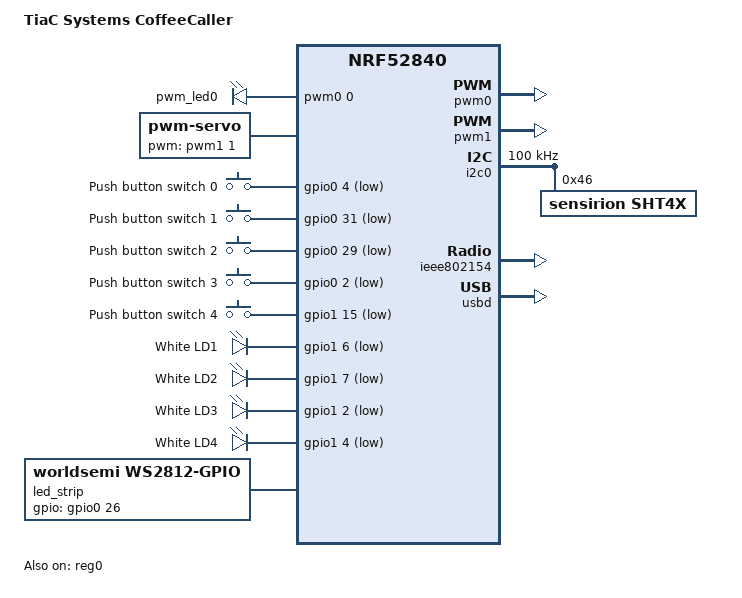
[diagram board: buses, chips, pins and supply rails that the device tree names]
/*
 * Copyright (c) 2025 TiaC Systems
 *
 * SPDX-License-Identifier: Apache-2.0
 */

/dts-v1/;
#include <nordic/nrf52840_qiaa.dtsi>
#include <nordic/nrf52840_partition_uf2_sdv7.dtsi>
#include "nrf52840-pinctrl.dtsi"
#include <zephyr/dt-bindings/input/input-event-codes.h>
#include <zephyr/dt-bindings/led/led.h>

/ {
	model = "TiaC Systems CoffeeCaller";
	compatible = "nordic,nrf52840";

	chosen {
		zephyr,console = &cdc_acm_uart0;
		zephyr,shell-uart = &cdc_acm_uart0;
		zephyr,uart-mcumgr = &cdc_acm_uart0;
		zephyr,bt-mon-uart = &cdc_acm_uart0;
		zephyr,bt-c2h-uart = &cdc_acm_uart0;
		zephyr,ieee802154 = &ieee802154;
	};

	pwmleds {
		compatible = "pwm-leds";
		pwm_led0: pwm_led_0 {
			pwms = <&pwm0 0 PWM_HZ(440) PWM_POLARITY_NORMAL>;
		};
	};

	servo: servo {
		compatible = "pwm-servo";
		pwms = <&pwm1 1 PWM_MSEC(20) PWM_POLARITY_NORMAL>;
		min-pulse = <PWM_USEC(700)>;
		max-pulse = <PWM_USEC(2500)>;
	};

	buttons {
		compatible = "gpio-keys";
		button0: button_0 {
			gpios = <&gpio0 4 (GPIO_PULL_UP | GPIO_ACTIVE_LOW)>;
			label = "Push button switch 0";
			zephyr,code = <INPUT_KEY_0>;
		};
		button1: button_1 {
			gpios = <&gpio0 31 (GPIO_PULL_UP | GPIO_ACTIVE_LOW)>;
			label = "Push button switch 1";
			zephyr,code = <INPUT_KEY_1>;
		};
		button2: button_2 {
			gpios = <&gpio0 29 (GPIO_PULL_UP | GPIO_ACTIVE_LOW)>;
			label = "Push button switch 2";
			zephyr,code = <INPUT_KEY_2>;
		};
		button3: button_3 {
			gpios = <&gpio0 2 (GPIO_PULL_UP | GPIO_ACTIVE_LOW)>;
			label = "Push button switch 3";
			zephyr,code = <INPUT_KEY_3>;
		};
		button4: button_4 {
			gpios = <&gpio1 15 (GPIO_PULL_UP | GPIO_ACTIVE_LOW)>;
			label = "Push button switch 4";
			zephyr,code = <INPUT_KEY_4>;
		};
	};

	leds {
		compatible = "gpio-leds";
		ld1: ld1 {
			gpios = <&gpio1 6 GPIO_ACTIVE_LOW>;
			label = "White LD1";
		};
		ld2: ld2 {
			gpios = <&gpio1 7 GPIO_ACTIVE_LOW>;
			label = "White LD2";
		};
		ld3: ld3 {
			gpios = <&gpio1 2 GPIO_ACTIVE_LOW>;
			label = "White LD3";
		};
		ld4: ld4 {
			gpios = <&gpio1 4 GPIO_ACTIVE_LOW>;
			label = "White LD4";
		};
	};

	led_strip: ws2812 {
		compatible = "worldsemi,ws2812-gpio";
		chain-length = <4>;
		color-mapping = <LED_COLOR_ID_GREEN
				LED_COLOR_ID_RED
				LED_COLOR_ID_BLUE>;
		gpios = <&gpio0 26 0>;
	};

	aliases {
	pwm-led0 = &pwm_led0;
	buzzer0 = &pwm_led0;
	sw0 = &button0;
	sw1 = &button1;
	sw2 = &button2;
	sw3 = &button3;
	sw4 = &button4;
	mcuboot-button0 = &button0;
	watchdog0 = &wdt0;
	led-strip = &led_strip;
	led0 = &ld1;
	led1 = &ld2;
	led2 = &ld3;
	led3 = &ld4;
	};
};

&reg0 {
	status = "okay";
};

&reg1 {
	regulator-initial-mode = <NRF5X_REG_MODE_LDO>;
};

&adc {
	status = "disabled";
};

&gpiote {
	status = "okay";
};

&gpio0 {
	status = "okay";
};

&gpio1 {
	status = "okay";
};

&pwm0 {
	status = "okay";
	pinctrl-0 = <&pwm0_default>;
	pinctrl-1 = <&pwm0_sleep>;
	pinctrl-names = "default", "sleep";
};

&pwm1 {
	status = "okay";
	pinctrl-0 = <&pwm1_default>;
	pinctrl-1 = <&pwm1_sleep>;
	pinctrl-names = "default", "sleep";
};

&i2c0 {
	compatible = "nordic,nrf-twi";
	status = "okay";
	pinctrl-0 = <&i2c0_default>;
	pinctrl-1 = <&i2c0_sleep>;
	pinctrl-names = "default", "sleep";
	clock-frequency = <100000>;
	sht4x: sht4x@46 {
		compatible = "sensirion,sht4x";
		reg = <0x46>;
		repeatability = <2>;
	};
};

&ieee802154 {
	status = "okay";
};

zephyr_udc0: &usbd {
	compatible = "nordic,nrf-usbd";
	status = "okay";
	cdc_acm_uart0: cdc_acm_uart0 {
		compatible = "zephyr,cdc-acm-uart";
	};
};
